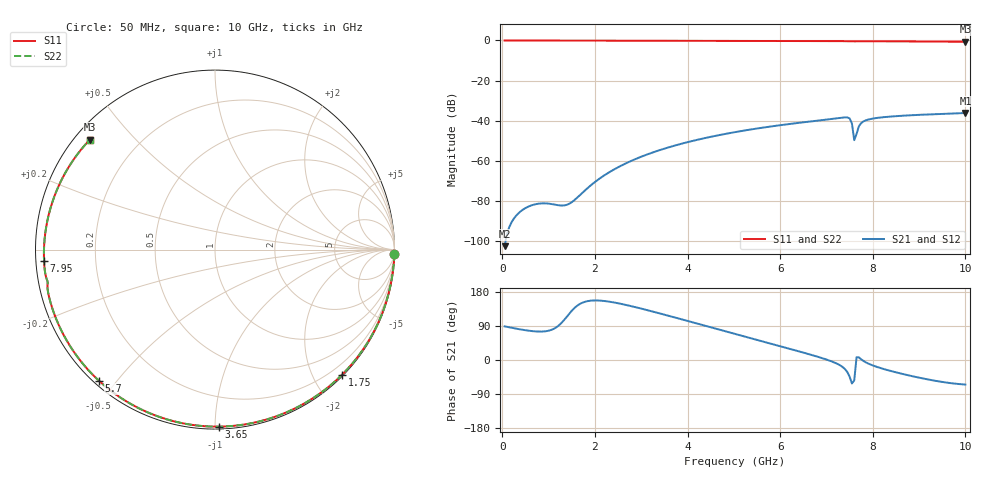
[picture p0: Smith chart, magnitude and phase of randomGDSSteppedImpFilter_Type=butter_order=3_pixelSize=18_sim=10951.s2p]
! freq	dB(S11)	phase(S11)	dB(S12)	phase(S12)
!  dB(S21)	phase(S21)	dB(S22)	phase(S22)
!S-par simulation data
#  GHz  S  DB  R 50
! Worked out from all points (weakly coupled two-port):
!   200 points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, 50 MHz to 10 GHz, reference 50 ohm
!   highest |S21| = -36.10 dB at 10 GHz (marker M1); lowest = -102.4 dB at 50 MHz (marker M2)
!   lowest |S11| = -0.6 dB at 10 GHz (marker M3), VSWR 26.79, Z = 2.13 + j18.8 ohm
!   |S11| at or under -10 dB: nowhere
!   |S22| runs from -0.6 to 0.0 dB; largest |S21 - S12| = 0
!   S11 on the Smith chart (normalised r, x): 50 MHz: 0, -88; 1.75 GHz: 0.02, -2.45; 3.65 GHz: 0.01, -1.02; 5.7 GHz: 0.01, -0.45; 7.95 GHz: 0.02, -0.03; 10 GHz: 0.04, +0.38
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0.05  -0.00 -1.3  -102.40 88.8  -102.40 88.8  -0.00 -1.3
0.75  -0.03 -19.4  -81.37 75.2  -81.37 75.2  -0.03 -19.4
1.5  -0.05 -38.3  -80.49 129.9  -80.49 129.9  -0.05 -38.3
1.75  -0.06 -44.5  -75.40 152.1  -75.40 152.1  -0.06 -44.5
2.1  -0.07 -53.0  -68.76 156.8  -68.76 156.8  -0.07 -53.0
2.45  -0.08 -61.3  -63.73 151.0  -63.73 151.0  -0.08 -61.3
3.4  -0.11 -83.2  -54.58 122.9  -54.58 122.9  -0.11 -83.2
3.65  -0.12 -88.7  -52.81 114.7  -52.81 114.7  -0.12 -88.7
4.35  -0.14 -103.8  -48.72 91.4  -48.72 91.4  -0.14 -103.8
5.05  -0.18 -118.3  -45.53 68.1  -45.53 68.1  -0.18 -118.3
5.7  -0.21 -131.5  -43.14 46.4  -43.14 46.4  -0.21 -131.5
6.7  -0.28 -151.4  -40.20 12.6  -40.20 12.6  -0.28 -151.4
7.4  -0.35 -165.5  -38.29 -24.1  -38.29 -24.1  -0.35 -165.5
7.5  -0.39 -167.7  -38.81 -44.0  -38.81 -44.0  -0.39 -167.7
7.55  -0.43 -168.6  -41.31 -62.0  -41.31 -62.0  -0.44 -168.6
7.6  -0.45 -169.3  -49.65 -53.8  -49.65 -53.8  -0.45 -169.3
7.7  -0.41 -171.1  -42.71 6.8  -42.71 6.8  -0.41 -171.1
7.75  -0.40 -172.2  -41.11 1.8  -41.11 1.8  -0.40 -172.1
7.95  -0.40 -176.3  -39.10 -11.9  -39.10 -11.9  -0.40 -176.3
8.35  -0.44 175.3  -37.95 -27.7  -37.95 -27.7  -0.44 175.4
9.2  -0.54 157.0  -36.83 -51.5  -36.83 -51.5  -0.54 157.1
10  -0.65 138.6  -36.10 -64.8  -36.10 -64.8  -0.65 138.7
